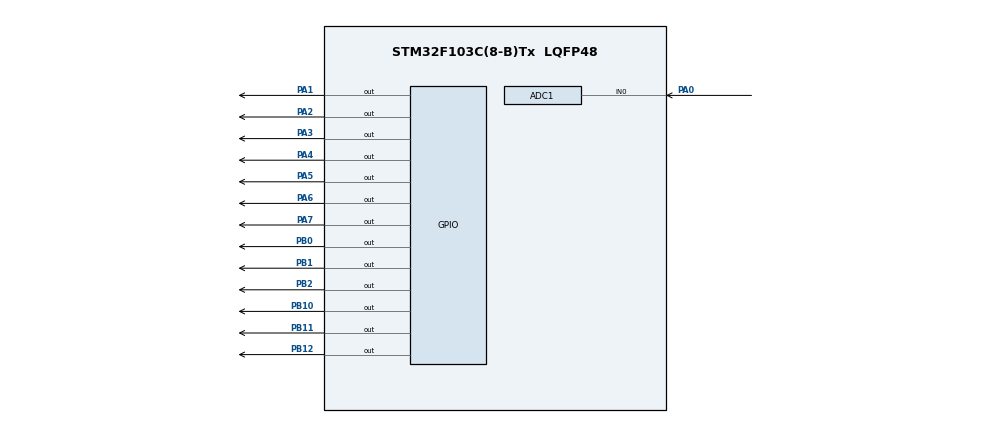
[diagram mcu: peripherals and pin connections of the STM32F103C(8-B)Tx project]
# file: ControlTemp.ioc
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ADC1.Channel-0\#ChannelRegularConversion=ADC_CHANNEL_0
ADC1.ContinuousConvMode=DISABLE
ADC1.NbrOfConversionFlag=1
ADC1.Rank-0\#ChannelRegularConversion=1
ADC1.SamplingTime-0\#ChannelRegularConversion=ADC_SAMPLETIME_1CYCLE_5
ADC1.master=1
Mcu.Family=STM32F1
Mcu.Name=STM32F103C(8-B)Tx
Mcu.Package=LQFP48
NVIC.PriorityGroup=NVIC_PRIORITYGROUP_4
NVIC.TIM1_UP_IRQn=true\:0\:0\:false\:false\:true\:true\:true\:true
PA0-WKUP.Signal=ADCx_IN0
PA1.Signal=GPIO_Output
PA13.Mode=Serial_Wire
PA13.Signal=SYS_JTMS-SWDIO
PA14.Mode=Serial_Wire
PA14.Signal=SYS_JTCK-SWCLK
PA2.Signal=GPIO_Output
PA3.Signal=GPIO_Output
PA4.Signal=GPIO_Output
PA5.Signal=GPIO_Output
PA6.Signal=GPIO_Output
PA7.Signal=GPIO_Output
PB0.Signal=GPIO_Output
PB1.Signal=GPIO_Output
PB10.Signal=GPIO_Output
PB11.Signal=GPIO_Output
PB12.Signal=GPIO_Output
PB2.Signal=GPIO_Output
PD0-OSC_IN.Mode=HSE-External-Oscillator
PD0-OSC_IN.Signal=RCC_OSC_IN
PD1-OSC_OUT.Mode=HSE-External-Oscillator
PD1-OSC_OUT.Signal=RCC_OSC_OUT
ProjectManager.HeapSize=0x200
ProjectManager.StackSize=0x400
ProjectManager.TargetToolchain=MDK-ARM V5.32
RCC.APB1Freq_Value=8000000
RCC.APB2Freq_Value=8000000
RCC.SYSCLKSource=RCC_SYSCLKSOURCE_HSE
SH.ADCx_IN0.0=ADC1_IN0,IN0
TIM1.Period=5000-1
TIM1.Prescaler=8-1
VP_TIM1_VS_ClockSourceINT.Mode=Internal
board=custom

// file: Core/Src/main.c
/* USER CODE BEGIN Header */
/**
  ******************************************************************************
  * @file           : main.c
  * @brief          : Main program body
  ******************************************************************************
  * @attention
  *
  * Copyright (c) 2024 STMicroelectronics.
  * All rights reserved.
  *
  * This software is licensed under terms that can be found in the LICENSE file
  * in the root directory of this software component.
  * If no LICENSE file comes with this software, it is provided AS-IS.
  *
  ******************************************************************************
  */
/* USER CODE END Header */
#include "main.h"

/* USER CODE BEGIN PD */
// Define port
#define A_SEG_PORT	GPIOB
#define B_SEG_PORT	GPIOB
#define C_SEG_PORT	GPIOA
#define D_SEG_PORT	GPIOA
#define E_SEG_PORT	GPIOA
#define F_SEG_PORT	GPIOA
#define G_SEG_PORT	GPIOA
#define DIG2_PORT		GPIOA
#define DIG1_PORT		GPIOA

#define COND1_PORT	GPIOB
#define COND2_PORT	GPIOB
#define COND3_PORT	GPIOB

// Define pin
#define A_SEG_PIN	GPIO_PIN_1
#define B_SEG_PIN	GPIO_PIN_0
#define C_SEG_PIN	GPIO_PIN_4
#define D_SEG_PIN	GPIO_PIN_2
#define E_SEG_PIN	GPIO_PIN_3
#define F_SEG_PIN	GPIO_PIN_5
#define G_SEG_PIN	GPIO_PIN_1
#define DIG2_PIN	GPIO_PIN_7
#define DIG1_PIN	GPIO_PIN_6

#define COND1_PIN	GPIO_PIN_12
#define COND2_PIN	GPIO_PIN_10
#define COND3_PIN	GPIO_PIN_11
/* USER CODE END PD */

ADC_HandleTypeDef hadc1;

TIM_HandleTypeDef htim1;

void SystemClock_Config(void);
static void MX_GPIO_Init(void);
static void MX_ADC1_Init(void);
static void MX_TIM1_Init(void);

/* USER CODE BEGIN 0 */
uint8_t Segment_Cathode_Code[] = {0xc0,0xf9,0xa4,0xb0,0x99,0x92,0x82,0xf8,0x80,0x90,0xff};
uint16_t value_adc_sensor = 0;
float value_sensor = 0;

void displayOneNum(uint8_t num, uint8_t dig)
{
	HAL_GPIO_WritePin(A_SEG_PORT, A_SEG_PIN, (Segment_Cathode_Code[num] & 0x01) >> 0);
	HAL_GPIO_WritePin(B_SEG_PORT, B_SEG_PIN, (Segment_Cathode_Code[num] & 0x02) >> 1);
	HAL_GPIO_WritePin(C_SEG_PORT, C_SEG_PIN, (Segment_Cathode_Code[num] & 0x04) >> 2);
	HAL_GPIO_WritePin(D_SEG_PORT, D_SEG_PIN, (Segment_Cathode_Code[num] & 0x08) >> 3);
	HAL_GPIO_WritePin(E_SEG_PORT, E_SEG_PIN, (Segment_Cathode_Code[num] & 0x10) >> 4);
	HAL_GPIO_WritePin(F_SEG_PORT, F_SEG_PIN, (Segment_Cathode_Code[num] & 0x20) >> 5);
	HAL_GPIO_WritePin(G_SEG_PORT, G_SEG_PIN, (Segment_Cathode_Code[num] & 0x40) >> 6);

	switch (dig)
	{
		case 0:
			HAL_GPIO_WritePin(DIG1_PORT, DIG1_PIN, 1);
			HAL_GPIO_WritePin(DIG2_PORT, DIG2_PIN, 0);
			break;
		case 1:
			HAL_GPIO_WritePin(DIG1_PORT, DIG1_PIN, 0);
			HAL_GPIO_WritePin(DIG2_PORT, DIG2_PIN, 1);
			break;
	}
}

void Display(uint8_t num)
{
	displayOneNum(num / 10, 1);
	HAL_Delay(1);
	displayOneNum(10, 1);
	displayOneNum(num % 10, 0);
	HAL_Delay(1);
	displayOneNum(10, 0);
}

void HAL_TIM_PeriodElapsedCallback(TIM_HandleTypeDef *htim)
{
  if(htim->Instance == TIM1)
	{
		HAL_ADC_Start(&hadc1);
		HAL_ADC_PollForConversion(&hadc1, 10);
		value_adc_sensor = HAL_ADC_GetValue(&hadc1);
		value_sensor = (float)value_adc_sensor * 220.0 / 4096.0;
		HAL_ADC_Stop(&hadc1);

		if(value_sensor <36.5)
		{
			HAL_GPIO_WritePin(COND1_PORT, COND1_PIN, 0);
		}
		else if((value_sensor  >= 36.5) && (value_sensor < 37))
		{
			HAL_GPIO_WritePin(COND1_PORT, COND1_PIN, 0);
			HAL_GPIO_WritePin(COND2_PORT, COND2_PIN, 0);
		}
		else if(value_sensor >= 37)
		{
			HAL_GPIO_WritePin(COND1_PORT, COND1_PIN, 0);
			HAL_GPIO_WritePin(COND2_PORT, COND2_PIN, 0);
			HAL_GPIO_WritePin(COND3_PORT, COND3_PIN, 0);
		}
	}
}
/* USER CODE END 0 */

int main(void)
{

  /* MCU Configuration--------------------------------------------------------*/

  /* Reset of all peripherals, Initializes the Flash interface and the Systick. */
  HAL_Init();

  /* Configure the system clock */
  SystemClock_Config();

  /* Initialize all configured peripherals */
  MX_GPIO_Init();
  MX_ADC1_Init();
  MX_TIM1_Init();
  /* USER CODE BEGIN 2 */
	HAL_TIM_Base_Start_IT(&htim1);
	HAL_GPIO_WritePin(COND1_PORT, COND1_PIN, 1);
	HAL_GPIO_WritePin(COND2_PORT, COND2_PIN, 1);
	HAL_GPIO_WritePin(COND2_PORT, COND3_PIN, 1);
  /* USER CODE END 2 */

  /* Infinite loop */
  while (1)
  {

    /* USER CODE BEGIN 3 */

		Display((uint8_t) value_sensor);

  }
  /* USER CODE END 3 */
}

void SystemClock_Config(void)
{
  RCC_OscInitTypeDef RCC_OscInitStruct = {0};
  RCC_ClkInitTypeDef RCC_ClkInitStruct = {0};
  RCC_PeriphCLKInitTypeDef PeriphClkInit = {0};

  /** Initializes the RCC Oscillators according to the specified parameters
  * in the RCC_OscInitTypeDef structure.
  */
  RCC_OscInitStruct.OscillatorType = RCC_OSCILLATORTYPE_HSE;
  RCC_OscInitStruct.HSEState = RCC_HSE_ON;
  RCC_OscInitStruct.PLL.PLLState = RCC_PLL_NONE;
  if (HAL_RCC_OscConfig(&RCC_OscInitStruct) != HAL_OK)
  {
    Error_Handler();
  }

  /** Initializes the CPU, AHB and APB buses clocks
  */
  RCC_ClkInitStruct.ClockType = RCC_CLOCKTYPE_HCLK|RCC_CLOCKTYPE_SYSCLK
                              |RCC_CLOCKTYPE_PCLK1|RCC_CLOCKTYPE_PCLK2;
  RCC_ClkInitStruct.SYSCLKSource = RCC_SYSCLKSOURCE_HSE;
  RCC_ClkInitStruct.AHBCLKDivider = RCC_SYSCLK_DIV1;
  RCC_ClkInitStruct.APB1CLKDivider = RCC_HCLK_DIV1;
  RCC_ClkInitStruct.APB2CLKDivider = RCC_HCLK_DIV1;

  if (HAL_RCC_ClockConfig(&RCC_ClkInitStruct, FLASH_LATENCY_0) != HAL_OK)
  {
    Error_Handler();
  }
  PeriphClkInit.PeriphClockSelection = RCC_PERIPHCLK_ADC;
  PeriphClkInit.AdcClockSelection = RCC_ADCPCLK2_DIV2;
  if (HAL_RCCEx_PeriphCLKConfig(&PeriphClkInit) != HAL_OK)
  {
    Error_Handler();
  }
}

static void MX_ADC1_Init(void)
{

  ADC_ChannelConfTypeDef sConfig = {0};

  /** Common config
  */
  hadc1.Instance = ADC1;
  hadc1.Init.ScanConvMode = ADC_SCAN_DISABLE;
  hadc1.Init.ContinuousConvMode = DISABLE;
  hadc1.Init.DiscontinuousConvMode = DISABLE;
  hadc1.Init.ExternalTrigConv = ADC_SOFTWARE_START;
  hadc1.Init.DataAlign = ADC_DATAALIGN_RIGHT;
  hadc1.Init.NbrOfConversion = 1;
  if (HAL_ADC_Init(&hadc1) != HAL_OK)
  {
    Error_Handler();
  }

  /** Configure Regular Channel
  */
  sConfig.Channel = ADC_CHANNEL_0;
  sConfig.Rank = ADC_REGULAR_RANK_1;
  sConfig.SamplingTime = ADC_SAMPLETIME_1CYCLE_5;
  if (HAL_ADC_ConfigChannel(&hadc1, &sConfig) != HAL_OK)
  {
    Error_Handler();
  }

}

static void MX_TIM1_Init(void)
{

  TIM_ClockConfigTypeDef sClockSourceConfig = {0};
  TIM_MasterConfigTypeDef sMasterConfig = {0};

  htim1.Instance = TIM1;
  htim1.Init.Prescaler = 8-1;
  htim1.Init.CounterMode = TIM_COUNTERMODE_UP;
  htim1.Init.Period = 5000-1;
  htim1.Init.ClockDivision = TIM_CLOCKDIVISION_DIV1;
  htim1.Init.RepetitionCounter = 0;
  htim1.Init.AutoReloadPreload = TIM_AUTORELOAD_PRELOAD_DISABLE;
  if (HAL_TIM_Base_Init(&htim1) != HAL_OK)
  {
    Error_Handler();
  }
  sClockSourceConfig.ClockSource = TIM_CLOCKSOURCE_INTERNAL;
  if (HAL_TIM_ConfigClockSource(&htim1, &sClockSourceConfig) != HAL_OK)
  {
    Error_Handler();
  }
  sMasterConfig.MasterOutputTrigger = TIM_TRGO_RESET;
  sMasterConfig.MasterSlaveMode = TIM_MASTERSLAVEMODE_DISABLE;
  if (HAL_TIMEx_MasterConfigSynchronization(&htim1, &sMasterConfig) != HAL_OK)
  {
    Error_Handler();
  }

}

static void MX_GPIO_Init(void)
{
  GPIO_InitTypeDef GPIO_InitStruct = {0};

  /* GPIO Ports Clock Enable */
  __HAL_RCC_GPIOD_CLK_ENABLE();
  __HAL_RCC_GPIOA_CLK_ENABLE();
  __HAL_RCC_GPIOB_CLK_ENABLE();

  /*Configure GPIO pin Output Level */
  HAL_GPIO_WritePin(GPIOA, GPIO_PIN_1|GPIO_PIN_2|GPIO_PIN_3|GPIO_PIN_4
                          |GPIO_PIN_5|GPIO_PIN_6|GPIO_PIN_7, GPIO_PIN_RESET);

  /*Configure GPIO pin Output Level */
  HAL_GPIO_WritePin(GPIOB, GPIO_PIN_0|GPIO_PIN_1|GPIO_PIN_2|GPIO_PIN_10
                          |GPIO_PIN_11|GPIO_PIN_12, GPIO_PIN_RESET);

  /*Configure GPIO pins : PA1 PA2 PA3 PA4
                           PA5 PA6 PA7 */
  GPIO_InitStruct.Pin = GPIO_PIN_1|GPIO_PIN_2|GPIO_PIN_3|GPIO_PIN_4
                          |GPIO_PIN_5|GPIO_PIN_6|GPIO_PIN_7;
  GPIO_InitStruct.Mode = GPIO_MODE_OUTPUT_PP;
  GPIO_InitStruct.Pull = GPIO_NOPULL;
  GPIO_InitStruct.Speed = GPIO_SPEED_FREQ_LOW;
  HAL_GPIO_Init(GPIOA, &GPIO_InitStruct);

  /*Configure GPIO pins : PB0 PB1 PB2 PB10
                           PB11 PB12 */
  GPIO_InitStruct.Pin = GPIO_PIN_0|GPIO_PIN_1|GPIO_PIN_2|GPIO_PIN_10
                          |GPIO_PIN_11|GPIO_PIN_12;
  GPIO_InitStruct.Mode = GPIO_MODE_OUTPUT_PP;
  GPIO_InitStruct.Pull = GPIO_NOPULL;
  GPIO_InitStruct.Speed = GPIO_SPEED_FREQ_LOW;
  HAL_GPIO_Init(GPIOB, &GPIO_InitStruct);

}

void Error_Handler(void)
{
  __disable_irq();
  while (1)
  {
  }
}
